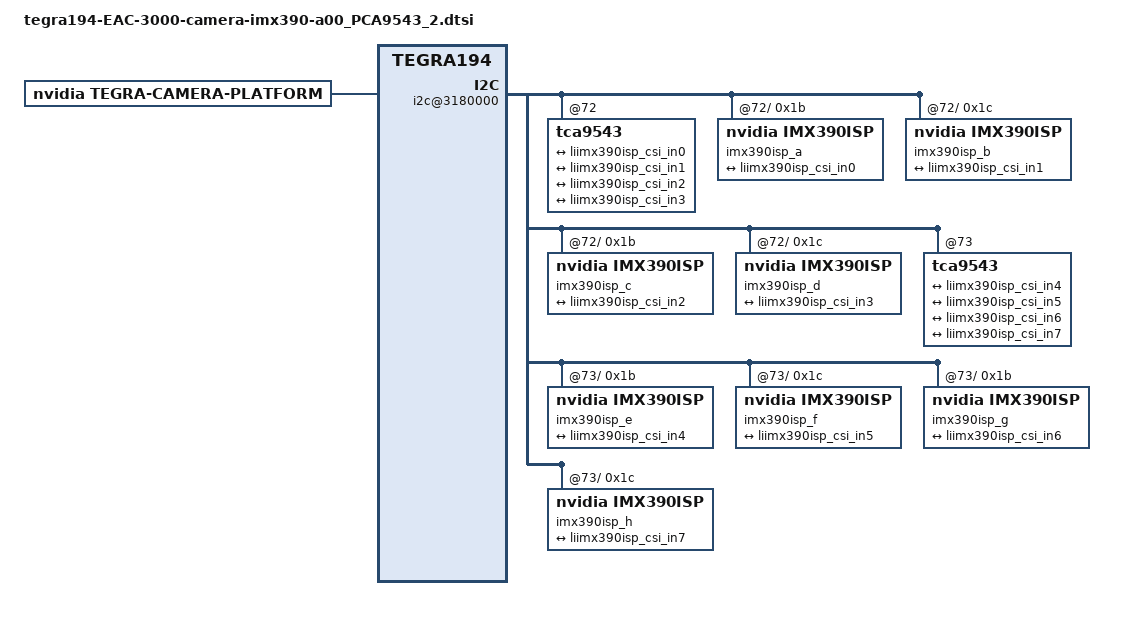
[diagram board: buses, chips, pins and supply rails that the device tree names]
/*
 * Copyright (c) 2018, NVIDIA CORPORATION.  All rights reserved.
 *
 * This program is free software; you can redistribute it and/or modify
 * it under the terms of the GNU General Public License as published by
 * the Free Software Foundation; either version 2 of the License, or
 * (at your option) any later version.
 *
 * This program is distributed in the hope that it will be useful, but WITHOUT
 * ANY WARRANTY; without even the implied warranty of MERCHANTABILITY or
 * FITNESS FOR A PARTICULAR PURPOSE.  See the GNU General Public License for
 * more details.
 *
 * You should have received a copy of the GNU General Public License
 * along with this program.  If not, see <http://www.gnu.org/licenses/>.
 */

/ {
	host1x {
		vi@15c10000 {
			num-channels = <8>;
			ports {
				#address-cells = <1>;
				#size-cells = <0>;
				port@0 {
					reg = <0>;
					liimx390isp_vi_in0: endpoint {
						vc-id = <0>;
						port-index = <0>;
						bus-width = <4>;
						remote-endpoint = <&liimx390isp_csi_out0>;
					};
				};
				port@1 {
					reg = <1>;
					liimx390isp_vi_in1: endpoint {
						vc-id = <1>;
						port-index = <0>;
						bus-width = <4>;
						remote-endpoint = <&liimx390isp_csi_out1>;
					};
				};
				port@2 {
					reg = <2>;
					liimx390isp_vi_in2: endpoint {
						vc-id = <0>;
						port-index = <2>;
						bus-width = <4>;
						remote-endpoint = <&liimx390isp_csi_out2>;
					};
				};
				port@3 {
					reg = <3>;
					liimx390isp_vi_in3: endpoint {
						vc-id = <1>;
						port-index = <2>;
						bus-width = <4>;
						remote-endpoint = <&liimx390isp_csi_out3>;
					};
				};
				port@4 {
					reg = <4>;
					liimx390isp_vi_in4: endpoint {
						vc-id = <0>;
						port-index = <4>;
						bus-width = <4>;
						remote-endpoint = <&liimx390isp_csi_out4>;
					};
				};
				port@5 {
					reg = <5>;
					liimx390isp_vi_in5: endpoint {
						vc-id = <1>;
						port-index = <4>;
						bus-width = <4>;
						remote-endpoint = <&liimx390isp_csi_out5>;
					};
				};
				port@6 {
					reg = <6>;
					liimx390isp_vi_in6: endpoint {
						vc-id = <0>;
						port-index = <5>;
						bus-width = <4>;
						remote-endpoint = <&liimx390isp_csi_out6>;
					};
				};
				port@7 {
					reg = <7>;
					liimx390isp_vi_in7: endpoint {
						vc-id = <1>;
						port-index = <5>;
						bus-width = <4>;
						remote-endpoint = <&liimx390isp_csi_out7>;
					};
				};
			};
		};

		nvcsi@15a00000 {
			num-channels = <8>;
			#address-cells = <1>;
			#size-cells = <0>;
			channel@0 {
				reg = <0>;
				ports {
					#address-cells = <1>;
					#size-cells = <0>;
					port@0 {
						reg = <0>;
						liimx390isp_csi_in0: endpoint@0 {
							port-index = <0>;
							bus-width = <4>;
							remote-endpoint = <&liimx390isp_imx390isp_out0>;
						};
					};
					port@1 {
						reg = <1>;
						liimx390isp_csi_out0: endpoint@1 {
							remote-endpoint = <&liimx390isp_vi_in0>;
						};
					};
				};
			};
			channel@1 {
				reg = <1>;
				ports {
					#address-cells = <1>;
					#size-cells = <0>;
					port@0 {
						reg = <0>;
						liimx390isp_csi_in1: endpoint@2 {
							port-index = <0>;
							bus-width = <4>;
							remote-endpoint = <&liimx390isp_imx390isp_out1>;
						};
					};
					port@1 {
						reg = <1>;
						liimx390isp_csi_out1: endpoint@3 {
							remote-endpoint = <&liimx390isp_vi_in1>;
						};
					};
				};
			};
			channel@2 {
				reg = <2>;
				ports {
					#address-cells = <1>;
					#size-cells = <0>;
					port@0 {
						reg = <0>;
						liimx390isp_csi_in2: endpoint@4 {
							port-index = <2>;
							bus-width = <4>;
							remote-endpoint = <&liimx390isp_imx390isp_out2>;
						};
					};
					port@1 {
						reg = <1>;
						liimx390isp_csi_out2: endpoint@5 {
							remote-endpoint = <&liimx390isp_vi_in2>;
						};
					};
				};
			};
			channel@3 {
				reg = <3>;
				ports {
					#address-cells = <1>;
					#size-cells = <0>;
					port@0 {
						reg = <0>;
						liimx390isp_csi_in3: endpoint@6 {
							port-index = <2>;
							bus-width = <4>;
							remote-endpoint = <&liimx390isp_imx390isp_out3>;
						};
					};
					port@1 {
						reg = <1>;
						liimx390isp_csi_out3: endpoint@7 {
							remote-endpoint = <&liimx390isp_vi_in3>;
						};
					};
				};
			};
			channel@4 {
				reg = <4>;
				ports {
					#address-cells = <1>;
					#size-cells = <0>;
					port@0 {
						reg = <0>;
						liimx390isp_csi_in4: endpoint@8 {
							port-index = <4>;
							bus-width = <4>;
							remote-endpoint = <&liimx390isp_imx390isp_out4>;
						};
					};
					port@1 {
						reg = <1>;
						liimx390isp_csi_out4: endpoint@9 {
							remote-endpoint = <&liimx390isp_vi_in4>;
						};
					};
				};
			};
			channel@5 {
				reg = <5>;
				ports {
					#address-cells = <1>;
					#size-cells = <0>;
					port@0 {
						reg = <0>;
						liimx390isp_csi_in5: endpoint@10 {
							port-index = <4>;
							bus-width = <4>;
							remote-endpoint = <&liimx390isp_imx390isp_out5>;
						};
					};
					port@1 {
						reg = <1>;
						liimx390isp_csi_out5: endpoint@11 {
							remote-endpoint = <&liimx390isp_vi_in5>;
						};
					};
				};
			};
			channel@6 {
				reg = <6>;
				ports {
					#address-cells = <1>;
					#size-cells = <0>;
					port@0 {
						reg = <0>;
						liimx390isp_csi_in6: endpoint@12 {
							port-index = <6>;
							bus-width = <4>;
							remote-endpoint = <&liimx390isp_imx390isp_out6>;
						};
					};
					port@1 {
						reg = <1>;
						liimx390isp_csi_out6: endpoint@13 {
							remote-endpoint = <&liimx390isp_vi_in6>;
						};
					};
				};
			};
			channel@7 {
				reg = <7>;
				ports {
					#address-cells = <1>;
					#size-cells = <0>;
					port@0 {
						reg = <0>;
						liimx390isp_csi_in7: endpoint@14 {
							port-index = <6>;
							bus-width = <4>;
							remote-endpoint = <&liimx390isp_imx390isp_out7>;
						};
					};
					port@1 {
						reg = <1>;
						liimx390isp_csi_out7: endpoint@15 {
							remote-endpoint = <&liimx390isp_vi_in7>;
						};
					};
				};
			};
		};
	};

	i2c@3180000 {
		tca9543@72 {
			i2c@0 {
			imx390isp_a@1b {
				compatible = "nvidia,imx390isp";

				reg = <0x1b>;
				reg_mux = <0>;


				/* Physical dimensions of sensor */
				physical_w = "15.0";
				physical_h = "12.5";


				sensor_model ="imx390isp";

				/* Defines number of frames to be dropped by driver internally after applying */
				/* sensor crop settings. Some sensors send corrupt frames after applying */
				/* crop co-ordinates */
				post_crop_frame_drop = "0";

				/* Convert Gain to unit of dB (decibel) befor passing to kernel driver */
				//use_decibel_gain = "true";

				/* enable CID_SENSOR_MODE_ID for sensor modes selection */
				use_sensor_mode_id = "true";

				/**
				* A modeX node is required to support v4l2 driver
				* implementation with NVIDIA camera software stack
				*
				* mclk_khz = "";
				* Standard MIPI driving clock, typically 24MHz
				*
				* num_lanes = "";
				* Number of lane channels sensor is programmed to output
				*
				* tegra_sinterface = "";
				* The base tegra serial interface lanes are connected to
				*
				* vc_id = "";
				* The virtual channel id of the sensor.
				*
				* discontinuous_clk = "";
				* The sensor is programmed to use a discontinuous clock on MIPI lanes
				*
				* dpcm_enable = "true";
				* The sensor is programmed to use a DPCM modes
				*
				* cil_settletime = "";
				* MIPI lane settle time value.
				* A "0" value attempts to autocalibrate based on mclk_khz and pix_clk_hz
				*
				* active_w = "";
				* Pixel active region width
				*
				* active_h = "";
				* Pixel active region height
				*
				* dynamic_pixel_bit_depth = "";
				* sensor dynamic bit depth for sensor mode
				*
				* csi_pixel_bit_depth = "";
				* sensor output bit depth for sensor mode
				*
				* mode_type="";
				* Sensor mode type, For eg: yuv, Rgb, bayer, bayer_wdr_pwl
				*
				* pixel_phase="";
				* Pixel phase for sensor mode, For eg: rggb, vyuy, rgb888
				*
				* readout_orientation = "0";
				* Based on camera module orientation.
				* Only change readout_orientation if you specifically
				* Program a different readout order for this mode
				*
				* line_length = "";
				* Pixel line length (width) for sensor mode.
				* This is used to calibrate features in our camera stack.
				*
				* pix_clk_hz = "";
				* Sensor pixel clock used for calculations like exposure and framerate
				*
				*
				*
				*
				* inherent_gain = "";
				* Gain obtained inherently from mode (ie. pixel binning)
				*
				* min_gain_val = ""; (floor to 6 decimal places)
				* max_gain_val = ""; (floor to 6 decimal places)
				* Gain limits for mode
				* if use_decibel_gain = "true", please set the gain as decibel
				*
				* min_exp_time = ""; (ceil to integer)
				* max_exp_time = ""; (ceil to integer)
				* Exposure Time limits for mode (us)
				*
				*
				* min_hdr_ratio = "";
				* max_hdr_ratio = "";
				* HDR Ratio limits for mode
				*
				* min_framerate = "";
				* max_framerate = "";
				* Framerate limits for mode (fps)
				*
				* embedded_metadata_height = "";
				* Sensor embedded metadata height in units of rows.
				* If sensor does not support embedded metadata value should be 0.
				*/

			mode0 {/*mode IMX390_MODE_1920X1080_CROP_30FPS*/
					mclk_khz = "24000";
					num_lanes = "4";
					tegra_sinterface = "serial_a";
					vc_id = "0";
					discontinuous_clk = "no";
					dpcm_enable = "false";
					cil_settletime = "0";
					dynamic_pixel_bit_depth = "16";
					csi_pixel_bit_depth = "16";
					mode_type = "yuv";
					pixel_phase = "uyvy";
					pixel_t = "yuv_uyvy16";

					active_w = "1920";
					active_h = "1080";
					readout_orientation = "0";
					line_length = "2200";
					inherent_gain = "1";
					pix_clk_hz = "74250000";
					serdes_pix_clk_hz = "833333333";

					gain_factor = "10";
					min_gain_val = "0"; /* dB */
					max_gain_val = "300"; /* dB */
					step_gain_val = "3"; /* 0.3 */
					default_gain = "0";
					min_hdr_ratio = "1";
					max_hdr_ratio = "1";
					framerate_factor = "1000000";
					min_framerate = "30000000";
					max_framerate = "30000000";
					step_framerate = "1";
					default_framerate = "30000000";
					exposure_factor = "1000000";
					min_exp_time = "59"; /*us, 2 lines*/
					max_exp_time = "33333";
					step_exp_time = "1";
					default_exp_time = "33333";/* us */
					embedded_metadata_height = "0";
				};
				ports {
					#address-cells = <1>;
					#size-cells = <0>;
					port@0 {
						reg = <0>;
						liimx390isp_imx390isp_out0: endpoint {
							vc-id = <0>;
							port-index = <0>;
							bus-width = <4>;
							remote-endpoint = <&liimx390isp_csi_in0>;
							};
						};
					};
				gmsl-link {
					src-csi-port = "b";
					dst-csi-port = "a";
					serdes-csi-link = "a";
					csi-mode = "1x4";
					st-vc = <0>;
					vc-id = <0>;
					num-lanes = <4>;
					streams = "ued-u1", "yuv8";
					};
				};
                       
			imx390isp_b@1c {
				compatible = "nvidia,imx390isp";

				reg = <0x1c>;
				reg_mux = <0>;
				/* Physical dimensions of sensor */
				physical_w = "15.0";
				physical_h = "12.5";

				sensor_model ="imx390isp";

				/* Defines number of frames to be dropped by driver internally after applying */
				/* sensor crop settings. Some sensors send corrupt frames after applying */
				/* crop co-ordinates */
				post_crop_frame_drop = "0";

				/* Convert Gain to unit of dB (decibel) befor passing to kernel driver */
				//use_decibel_gain = "true";

				/* enable CID_SENSOR_MODE_ID for sensor modes selection */
				use_sensor_mode_id = "true";

				/**
				* A modeX node is required to support v4l2 driver
				* implementation with NVIDIA camera software stack
				*
				* mclk_khz = "";
				* Standard MIPI driving clock, typically 24MHz
				*
				* num_lanes = "";
				* Number of lane channels sensor is programmed to output
				*
				* tegra_sinterface = "";
				* The base tegra serial interface lanes are connected to
				*
				* vc_id = "";
				* The virtual channel id of the sensor.
				*
				* discontinuous_clk = "";
				* The sensor is programmed to use a discontinuous clock on MIPI lanes
				*
				* dpcm_enable = "true";
				* The sensor is programmed to use a DPCM modes
				*
				* cil_settletime = "";
				* MIPI lane settle time value.
				* A "0" value attempts to autocalibrate based on mclk_khz and pix_clk_hz
				*
				* active_w = "";
				* Pixel active region width
				*
				* active_h = "";
				* Pixel active region height
				*
				* dynamic_pixel_bit_depth = "";
				* sensor dynamic bit depth for sensor mode
				*
				* csi_pixel_bit_depth = "";
				* sensor output bit depth for sensor mode
				*
				* mode_type="";
				* Sensor mode type, For eg: yuv, Rgb, bayer, bayer_wdr_pwl
				*
				* pixel_phase="";
				* Pixel phase for sensor mode, For eg: rggb, vyuy, rgb888
				*
				* readout_orientation = "0";
				* Based on camera module orientation.
				* Only change readout_orientation if you specifically
				* Program a different readout order for this mode
				*
				* line_length = "";
				* Pixel line length (width) for sensor mode.
				* This is used to calibrate features in our camera stack.
				*
				* pix_clk_hz = "";
				* Sensor pixel clock used for calculations like exposure and framerate
				*
				*
				*
				*
				* inherent_gain = "";
				* Gain obtained inherently from mode (ie. pixel binning)
				*
				* min_gain_val = ""; (floor to 6 decimal places)
				* max_gain_val = ""; (floor to 6 decimal places)
				* Gain limits for mode
				* if use_decibel_gain = "true", please set the gain as decibel
				*
				* min_exp_time = ""; (ceil to integer)
				* max_exp_time = ""; (ceil to integer)
				* Exposure Time limits for mode (us)
				*
				*
				* min_hdr_ratio = "";
				* max_hdr_ratio = "";
				* HDR Ratio limits for mode
				*
				* min_framerate = "";
				* max_framerate = "";
				* Framerate limits for mode (fps)
				*
				* embedded_metadata_height = "";
				* Sensor embedded metadata height in units of rows.
				* If sensor does not support embedded metadata value should be 0.
				*/

			mode0 {/*mode imx390isp_MODE_1920X1080_CROP_30FPS*/
					mclk_khz = "24000";
					num_lanes = "4";
					tegra_sinterface = "serial_a";
					vc_id = "1";
					discontinuous_clk = "no";
					dpcm_enable = "false";
					cil_settletime = "0";
					dynamic_pixel_bit_depth = "16";
					csi_pixel_bit_depth = "16";
					mode_type = "yuv";
					pixel_phase = "uyvy";

					active_w = "1920";
					active_h = "1080";
					readout_orientation = "0";
					line_length = "2200";
					inherent_gain = "1";
					pix_clk_hz = "74250000";
					serdes_pix_clk_hz = "833333333";

					gain_factor = "10";
					min_gain_val = "0"; /* dB */
					max_gain_val = "300"; /* dB */
					step_gain_val = "3"; /* 0.3 */
					default_gain = "0";
					min_hdr_ratio = "1";
					max_hdr_ratio = "1";
					framerate_factor = "1000000";
					min_framerate = "30000000";
					max_framerate = "30000000";
					step_framerate = "1";
					default_framerate = "30000000";
					exposure_factor = "1000000";
					min_exp_time = "59"; /*us, 2 lines*/
					max_exp_time = "33333";
					step_exp_time = "1";
					default_exp_time = "33333";/* us */
					embedded_metadata_height = "0";
				};
				ports {
					#address-cells = <1>;
					#size-cells = <0>;
					port@0 {
						reg = <0>;
						liimx390isp_imx390isp_out1: endpoint {
							vc-id = <1>;
							port-index = <0>;
							bus-width = <4>;
							remote-endpoint = <&liimx390isp_csi_in1>;
							};
						};
					};
				gmsl-link {
					src-csi-port = "b";
					dst-csi-port = "a";
					serdes-csi-link = "b";
					csi-mode = "1x4";
					st-vc = <0>;
					vc-id = <1>;
					num-lanes = <4>;
					streams = "ued-u1", "yuv8";
					};
				};
			};

			i2c@1 {
			imx390isp_c@1b {
				compatible = "nvidia,imx390isp";

				reg = <0x1b>;
				reg_mux = <1>;
				/* Physical dimensions of sensor */
				physical_w = "15.0";
				physical_h = "12.5";

				sensor_model ="imx390isp";

				/* Defines number of frames to be dropped by driver internally after applying */
				/* sensor crop settings. Some sensors send corrupt frames after applying */
				/* crop co-ordinates */
				post_crop_frame_drop = "0";

				/* Convert Gain to unit of dB (decibel) befor passing to kernel driver */
				//use_decibel_gain = "true";

				/* enable CID_SENSOR_MODE_ID for sensor modes selection */
				use_sensor_mode_id = "true";

				mode0 {/*mode imx390isp_MODE_1920X1080_CROP_30FPS*/
					mclk_khz = "24000";
					num_lanes = "4";
					tegra_sinterface = "serial_c";
					vc_id = "0";
					discontinuous_clk = "no";
					dpcm_enable = "false";
					cil_settletime = "0";
					dynamic_pixel_bit_depth = "16";
					csi_pixel_bit_depth = "16";
					mode_type = "yuv";
					pixel_phase = "uyvy";

					active_w = "1920";
					active_h = "1080";
					readout_orientation = "0";
					line_length = "2200";
					inherent_gain = "1";
					pix_clk_hz = "74250000";
					serdes_pix_clk_hz = "833333333";

					gain_factor = "10";
					min_gain_val = "0"; /* dB */
					max_gain_val = "300"; /* dB */
					step_gain_val = "3"; /* 0.3 */
					default_gain = "0";
					min_hdr_ratio = "1";
					max_hdr_ratio = "1";
					framerate_factor = "1000000";
					min_framerate = "30000000";
					max_framerate = "30000000";
					step_framerate = "1";
					default_framerate = "30000000";
					exposure_factor = "1000000";
					min_exp_time = "59"; /*us, 2 lines*/
					max_exp_time = "33333";
					step_exp_time = "1";
					default_exp_time = "33333";/* us */
					embedded_metadata_height = "0";
				};
				ports {
					#address-cells = <1>;
					#size-cells = <0>;
					port@0 {
						reg = <0>;
						liimx390isp_imx390isp_out2: endpoint {
							vc-id = <0>;
							port-index = <2>;
							bus-width = <4>;
							remote-endpoint = <&liimx390isp_csi_in2>;
							};
						};
					};
				gmsl-link {
					src-csi-port = "b";
					dst-csi-port = "a";
					serdes-csi-link = "a";
					csi-mode = "1x4";
					st-vc = <0>;
					vc-id = <0>;
					num-lanes = <4>;
					streams = "ued-u1", "yuv8";
					};
				};
			
			imx390isp_d@1c {
				compatible = "nvidia,imx390isp";

				reg = <0x1c>;
				reg_mux = <1>;
				/* Physical dimensions of sensor */
				physical_w = "15.0";
				physical_h = "12.5";

				sensor_model ="imx390isp";

				/* Defines number of frames to be dropped by driver internally after applying */
				/* sensor crop settings. Some sensors send corrupt frames after applying */
				/* crop co-ordinates */
				post_crop_frame_drop = "0";

				/* Convert Gain to unit of dB (decibel) befor passing to kernel driver */
				//use_decibel_gain = "true";

				/* enable CID_SENSOR_MODE_ID for sensor modes selection */
				use_sensor_mode_id = "true";

				mode0 {/*mode imx390isp_MODE_1920X1080_CROP_30FPS*/
					mclk_khz = "24000";
					num_lanes = "4";
					tegra_sinterface = "serial_c";
					vc_id = "1";
					discontinuous_clk = "no";
					dpcm_enable = "false";
					cil_settletime = "0";
					dynamic_pixel_bit_depth = "16";
					csi_pixel_bit_depth = "16";
					mode_type = "yuv";
					pixel_phase = "uyvy";

					active_w = "1920";
					active_h = "1080";
					readout_orientation = "0";
					line_length = "2200";
					inherent_gain = "1";
					pix_clk_hz = "74250000";
					serdes_pix_clk_hz = "833333333";

					gain_factor = "10";
					min_gain_val = "0"; /* dB */
					max_gain_val = "300"; /* dB */
					step_gain_val = "3"; /* 0.3 */
					default_gain = "0";
					min_hdr_ratio = "1";
					max_hdr_ratio = "1";
					framerate_factor = "1000000";
					min_framerate = "30000000";
					max_framerate = "30000000";
					step_framerate = "1";
					default_framerate = "30000000";
					exposure_factor = "1000000";
					min_exp_time = "59"; /*us, 2 lines*/
					max_exp_time = "33333";
					step_exp_time = "1";
					default_exp_time = "33333";/* us */
					embedded_metadata_height = "0";
				};
				ports {
					#address-cells = <1>;
					#size-cells = <0>;
					port@0 {
						reg = <0>;
						liimx390isp_imx390isp_out3: endpoint {
							vc-id = <1>;
							port-index = <2>;
							bus-width = <4>;
							remote-endpoint = <&liimx390isp_csi_in3>;
							};
						};
					};
				gmsl-link {
					src-csi-port = "b";
					dst-csi-port = "a";
					serdes-csi-link = "b";
					csi-mode = "1x4";
					st-vc = <0>;
					vc-id = <1>;
					num-lanes = <4>;
					streams = "ued-u1", "yuv8";
					};
				};
			};
		};
		
		tca9543@73 {
			i2c@0 {
			imx390isp_e@1b {
				compatible = "nvidia,imx390isp";

				reg = <0x1b>;
				reg_mux = <2>;


				/* Physical dimensions of sensor */
				physical_w = "15.0";
				physical_h = "12.5";


				sensor_model ="imx390isp";

				/* Defines number of frames to be dropped by driver internally after applying */
				/* sensor crop settings. Some sensors send corrupt frames after applying */
				/* crop co-ordinates */
				post_crop_frame_drop = "0";

				/* Convert Gain to unit of dB (decibel) befor passing to kernel driver */
				//use_decibel_gain = "true";

				/* enable CID_SENSOR_MODE_ID for sensor modes selection */
				use_sensor_mode_id = "true";

				/**
				* A modeX node is required to support v4l2 driver
				* implementation with NVIDIA camera software stack
				*
				* mclk_khz = "";
				* Standard MIPI driving clock, typically 24MHz
				*
				* num_lanes = "";
				* Number of lane channels sensor is programmed to output
				*
				* tegra_sinterface = "";
				* The base tegra serial interface lanes are connected to
				*
				* vc_id = "";
				* The virtual channel id of the sensor.
				*
				* discontinuous_clk = "";
				* The sensor is programmed to use a discontinuous clock on MIPI lanes
				*
				* dpcm_enable = "true";
				* The sensor is programmed to use a DPCM modes
				*
				* cil_settletime = "";
				* MIPI lane settle time value.
				* A "0" value attempts to autocalibrate based on mclk_khz and pix_clk_hz
				*
				* active_w = "";
				* Pixel active region width
				*
				* active_h = "";
				* Pixel active region height
				*
				* dynamic_pixel_bit_depth = "";
				* sensor dynamic bit depth for sensor mode
				*
				* csi_pixel_bit_depth = "";
				* sensor output bit depth for sensor mode
				*
				* mode_type="";
				* Sensor mode type, For eg: yuv, Rgb, bayer, bayer_wdr_pwl
				*
				* pixel_phase="";
				* Pixel phase for sensor mode, For eg: rggb, vyuy, rgb888
				*
				* readout_orientation = "0";
				* Based on camera module orientation.
				* Only change readout_orientation if you specifically
				* Program a different readout order for this mode
				*
				* line_length = "";
				* Pixel line length (width) for sensor mode.
				* This is used to calibrate features in our camera stack.
				*
				* pix_clk_hz = "";
				* Sensor pixel clock used for calculations like exposure and framerate
				*
				*
				*
				*
				* inherent_gain = "";
				* Gain obtained inherently from mode (ie. pixel binning)
				*
				* min_gain_val = ""; (floor to 6 decimal places)
				* max_gain_val = ""; (floor to 6 decimal places)
				* Gain limits for mode
				* if use_decibel_gain = "true", please set the gain as decibel
				*
				* min_exp_time = ""; (ceil to integer)
				* max_exp_time = ""; (ceil to integer)
				* Exposure Time limits for mode (us)
				*
				*
				* min_hdr_ratio = "";
				* max_hdr_ratio = "";
				* HDR Ratio limits for mode
				*
				* min_framerate = "";
				* max_framerate = "";
				* Framerate limits for mode (fps)
				*
				* embedded_metadata_height = "";
				* Sensor embedded metadata height in units of rows.
				* If sensor does not support embedded metadata value should be 0.
				*/

			mode0 {/*mode IMX390_MODE_1920X1080_CROP_30FPS*/
					mclk_khz = "24000";
					num_lanes = "4";
					tegra_sinterface = "serial_e";
					vc_id = "0";
					discontinuous_clk = "no";
					dpcm_enable = "false";
					cil_settletime = "0";
					dynamic_pixel_bit_depth = "16";
					csi_pixel_bit_depth = "16";
					mode_type = "yuv";
					pixel_phase = "uyvy";
					pixel_t = "yuv_uyvy16";

					active_w = "1920";
					active_h = "1080";
					readout_orientation = "0";
					line_length = "2200";
					inherent_gain = "1";
					pix_clk_hz = "74250000";
					serdes_pix_clk_hz = "833333333";

					gain_factor = "10";
					min_gain_val = "0"; /* dB */
					max_gain_val = "300"; /* dB */
					step_gain_val = "3"; /* 0.3 */
					default_gain = "0";
					min_hdr_ratio = "1";
					max_hdr_ratio = "1";
					framerate_factor = "1000000";
					min_framerate = "30000000";
					max_framerate = "30000000";
					step_framerate = "1";
					default_framerate = "30000000";
					exposure_factor = "1000000";
					min_exp_time = "59"; /*us, 2 lines*/
					max_exp_time = "33333";
					step_exp_time = "1";
					default_exp_time = "33333";/* us */
					embedded_metadata_height = "0";
				};
				ports {
					#address-cells = <1>;
					#size-cells = <0>;
					port@0 {
						reg = <0>;
						liimx390isp_imx390isp_out4: endpoint {
							vc-id = <0>;
							port-index = <4>;
							bus-width = <4>;
							remote-endpoint = <&liimx390isp_csi_in4>;
							};
						};
					};
				gmsl-link {
					src-csi-port = "b";
					dst-csi-port = "a";
					serdes-csi-link = "a";
					csi-mode = "1x4";
					st-vc = <0>;
					vc-id = <0>;
					num-lanes = <4>;
					streams = "ued-u1", "yuv8";
					};
				};
                       
			imx390isp_f@1c {
				compatible = "nvidia,imx390isp";

				reg = <0x1c>;
				reg_mux = <2>;
				/* Physical dimensions of sensor */
				physical_w = "15.0";
				physical_h = "12.5";

				sensor_model ="imx390isp";

				/* Defines number of frames to be dropped by driver internally after applying */
				/* sensor crop settings. Some sensors send corrupt frames after applying */
				/* crop co-ordinates */
				post_crop_frame_drop = "0";

				/* Convert Gain to unit of dB (decibel) befor passing to kernel driver */
				//use_decibel_gain = "true";

				/* enable CID_SENSOR_MODE_ID for sensor modes selection */
				use_sensor_mode_id = "true";

				/**
				* A modeX node is required to support v4l2 driver
				* implementation with NVIDIA camera software stack
				*
				* mclk_khz = "";
				* Standard MIPI driving clock, typically 24MHz
				*
				* num_lanes = "";
				* Number of lane channels sensor is programmed to output
				*
				* tegra_sinterface = "";
				* The base tegra serial interface lanes are connected to
				*
				* vc_id = "";
				* The virtual channel id of the sensor.
				*
				* discontinuous_clk = "";
				* The sensor is programmed to use a discontinuous clock on MIPI lanes
				*
				* dpcm_enable = "true";
				* The sensor is programmed to use a DPCM modes
				*
				* cil_settletime = "";
				* MIPI lane settle time value.
				* A "0" value attempts to autocalibrate based on mclk_khz and pix_clk_hz
				*
				* active_w = "";
				* Pixel active region width
				*
				* active_h = "";
				* Pixel active region height
				*
				* dynamic_pixel_bit_depth = "";
				* sensor dynamic bit depth for sensor mode
				*
				* csi_pixel_bit_depth = "";
				* sensor output bit depth for sensor mode
				*
				* mode_type="";
				* Sensor mode type, For eg: yuv, Rgb, bayer, bayer_wdr_pwl
				*
				* pixel_phase="";
				* Pixel phase for sensor mode, For eg: rggb, vyuy, rgb888
				*
				* readout_orientation = "0";
				* Based on camera module orientation.
				* Only change readout_orientation if you specifically
				* Program a different readout order for this mode
				*
				* line_length = "";
				* Pixel line length (width) for sensor mode.
				* This is used to calibrate features in our camera stack.
				*
				* pix_clk_hz = "";
				* Sensor pixel clock used for calculations like exposure and framerate
				*
				*
				*
				*
				* inherent_gain = "";
				* Gain obtained inherently from mode (ie. pixel binning)
				*
				* min_gain_val = ""; (floor to 6 decimal places)
				* max_gain_val = ""; (floor to 6 decimal places)
				* Gain limits for mode
				* if use_decibel_gain = "true", please set the gain as decibel
				*
				* min_exp_time = ""; (ceil to integer)
				* max_exp_time = ""; (ceil to integer)
				* Exposure Time limits for mode (us)
				*
				*
				* min_hdr_ratio = "";
				* max_hdr_ratio = "";
				* HDR Ratio limits for mode
				*
				* min_framerate = "";
				* max_framerate = "";
				* Framerate limits for mode (fps)
				*
				* embedded_metadata_height = "";
				* Sensor embedded metadata height in units of rows.
				* If sensor does not support embedded metadata value should be 0.
				*/

			mode0 {/*mode imx390isp_MODE_1920X1080_CROP_30FPS*/
					mclk_khz = "24000";
					num_lanes = "4";
					tegra_sinterface = "serial_e";
					vc_id = "1";
					discontinuous_clk = "no";
					dpcm_enable = "false";
					cil_settletime = "0";
					dynamic_pixel_bit_depth = "16";
					csi_pixel_bit_depth = "16";
					mode_type = "yuv";
					pixel_phase = "uyvy";

					active_w = "1920";
					active_h = "1080";
					readout_orientation = "0";
					line_length = "2200";
					inherent_gain = "1";
					pix_clk_hz = "74250000";
					serdes_pix_clk_hz = "833333333";

					gain_factor = "10";
					min_gain_val = "0"; /* dB */
					max_gain_val = "300"; /* dB */
					step_gain_val = "3"; /* 0.3 */
					default_gain = "0";
					min_hdr_ratio = "1";
					max_hdr_ratio = "1";
					framerate_factor = "1000000";
					min_framerate = "30000000";
					max_framerate = "30000000";
					step_framerate = "1";
					default_framerate = "30000000";
					exposure_factor = "1000000";
					min_exp_time = "59"; /*us, 2 lines*/
					max_exp_time = "33333";
					step_exp_time = "1";
					default_exp_time = "33333";/* us */
					embedded_metadata_height = "0";
				};
				ports {
					#address-cells = <1>;
					#size-cells = <0>;
					port@0 {
						reg = <0>;
						liimx390isp_imx390isp_out5: endpoint {
							vc-id = <1>;
							port-index = <4>;
							bus-width = <4>;
							remote-endpoint = <&liimx390isp_csi_in5>;
							};
						};
					};
				gmsl-link {
					src-csi-port = "b";
					dst-csi-port = "a";
					serdes-csi-link = "b";
					csi-mode = "1x4";
					st-vc = <0>;
					vc-id = <1>;
					num-lanes = <4>;
					streams = "ued-u1", "yuv8";
					};
				};
			};

			i2c@1 {
			imx390isp_g@1b {
				compatible = "nvidia,imx390isp";

				reg = <0x1b>;
				reg_mux = <3>;
				/* Physical dimensions of sensor */
				physical_w = "15.0";
				physical_h = "12.5";

				sensor_model ="imx390isp";

				/* Defines number of frames to be dropped by driver internally after applying */
				/* sensor crop settings. Some sensors send corrupt frames after applying */
				/* crop co-ordinates */
				post_crop_frame_drop = "0";

				/* Convert Gain to unit of dB (decibel) befor passing to kernel driver */
				//use_decibel_gain = "true";

				/* enable CID_SENSOR_MODE_ID for sensor modes selection */
				use_sensor_mode_id = "true";

				mode0 {/*mode imx390isp_MODE_1920X1080_CROP_30FPS*/
					mclk_khz = "24000";
					num_lanes = "4";
					tegra_sinterface = "serial_g";
					vc_id = "0";
					discontinuous_clk = "no";
					dpcm_enable = "false";
					cil_settletime = "0";
					dynamic_pixel_bit_depth = "16";
					csi_pixel_bit_depth = "16";
					mode_type = "yuv";
					pixel_phase = "uyvy";

					active_w = "1920";
					active_h = "1080";
					readout_orientation = "0";
					line_length = "2200";
					inherent_gain = "1";
					pix_clk_hz = "74250000";
					serdes_pix_clk_hz = "833333333";

					gain_factor = "10";
					min_gain_val = "0"; /* dB */
					max_gain_val = "300"; /* dB */
					step_gain_val = "3"; /* 0.3 */
					default_gain = "0";
					min_hdr_ratio = "1";
					max_hdr_ratio = "1";
					framerate_factor = "1000000";
					min_framerate = "30000000";
					max_framerate = "30000000";
					step_framerate = "1";
					default_framerate = "30000000";
					exposure_factor = "1000000";
					min_exp_time = "59"; /*us, 2 lines*/
					max_exp_time = "33333";
					step_exp_time = "1";
					default_exp_time = "33333";/* us */
					embedded_metadata_height = "0";
				};
				ports {
					#address-cells = <1>;
					#size-cells = <0>;
					port@0 {
						reg = <0>;
						liimx390isp_imx390isp_out6: endpoint {
							vc-id = <0>;
							port-index = <6>;
							bus-width = <4>;
							remote-endpoint = <&liimx390isp_csi_in6>;
							};
						};
					};
				gmsl-link {
					src-csi-port = "b";
					dst-csi-port = "a";
					serdes-csi-link = "a";
					csi-mode = "1x4";
					st-vc = <0>;
					vc-id = <0>;
					num-lanes = <4>;
					streams = "ued-u1", "yuv8";
					};
				};
			
			imx390isp_h@1c {
				compatible = "nvidia,imx390isp";

				reg = <0x1c>;
				reg_mux = <3>;
				/* Physical dimensions of sensor */
				physical_w = "15.0";
				physical_h = "12.5";

				sensor_model ="imx390isp";

				/* Defines number of frames to be dropped by driver internally after applying */
				/* sensor crop settings. Some sensors send corrupt frames after applying */
				/* crop co-ordinates */
				post_crop_frame_drop = "0";

				/* Convert Gain to unit of dB (decibel) befor passing to kernel driver */
				//use_decibel_gain = "true";

				/* enable CID_SENSOR_MODE_ID for sensor modes selection */
				use_sensor_mode_id = "true";

				mode0 {/*mode imx390isp_MODE_1920X1080_CROP_30FPS*/
					mclk_khz = "24000";
					num_lanes = "4";
					tegra_sinterface = "serial_g";
					vc_id = "1";
					discontinuous_clk = "no";
					dpcm_enable = "false";
					cil_settletime = "0";
					dynamic_pixel_bit_depth = "16";
					csi_pixel_bit_depth = "16";
					mode_type = "yuv";
					pixel_phase = "uyvy";

					active_w = "1920";
					active_h = "1080";
					readout_orientation = "0";
					line_length = "2200";
					inherent_gain = "1";
					pix_clk_hz = "74250000";
					serdes_pix_clk_hz = "833333333";

					gain_factor = "10";
					min_gain_val = "0"; /* dB */
					max_gain_val = "300"; /* dB */
					step_gain_val = "3"; /* 0.3 */
					default_gain = "0";
					min_hdr_ratio = "1";
					max_hdr_ratio = "1";
					framerate_factor = "1000000";
					min_framerate = "30000000";
					max_framerate = "30000000";
					step_framerate = "1";
					default_framerate = "30000000";
					exposure_factor = "1000000";
					min_exp_time = "59"; /*us, 2 lines*/
					max_exp_time = "33333";
					step_exp_time = "1";
					default_exp_time = "33333";/* us */
					embedded_metadata_height = "0";
				};
				ports {
					#address-cells = <1>;
					#size-cells = <0>;
					port@0 {
						reg = <0>;
						liimx390isp_imx390isp_out7: endpoint {
							vc-id = <1>;
							port-index = <6>;
							bus-width = <4>;
							remote-endpoint = <&liimx390isp_csi_in7>;
							};
						};
					};
				gmsl-link {
					src-csi-port = "b";
					dst-csi-port = "a";
					serdes-csi-link = "b";
					csi-mode = "1x4";
					st-vc = <0>;
					vc-id = <1>;
					num-lanes = <4>;
					streams = "ued-u1", "yuv8";
					};
				};
			};
		};
	};
};

/ {

	tegra-camera-platform {
		compatible = "nvidia, tegra-camera-platform";
		/**
		* Physical settings to calculate max ISO BW
		*
		* num_csi_lanes = <>;
		* Total number of CSI lanes when all cameras are active
		*
		* max_lane_speed = <>;
		* Max lane speed in Kbit/s
		*
		* min_bits_per_pixel = <>;
		* Min bits per pixel
		*
		* vi_peak_byte_per_pixel = <>;
		* Max byte per pixel for the VI ISO case
		*
		* vi_bw_margin_pct = <>;
		* Vi bandwidth margin in percentage
		*
		* max_pixel_rate = <>;
		* Max pixel rate in Kpixel/s for the ISP ISO case
		*
		* isp_peak_byte_per_pixel = <>;
		* Max byte per pixel for the ISP ISO case
		*
		* isp_bw_margin_pct = <>;
		* Isp bandwidth margin in percentage
		*/
		num_csi_lanes = <8>;
		max_lane_speed = <4000000>;
		min_bits_per_pixel = <10>;
		vi_peak_byte_per_pixel = <2>;
		vi_bw_margin_pct = <25>;
		isp_peak_byte_per_pixel = <5>;
		isp_bw_margin_pct = <25>;

		/**
		 * The general guideline for naming badge_info contains 3 parts, and is as follows,
		 * The first part is the camera_board_id for the module; if the module is in a FFD
		 * platform, then use the platform name for this part.
		 * The second part contains the position of the module, ex. "rear" or "front".
		 * The third part contains the last 6 characters of a part number which is found
		 * in the module's specsheet from the vender.
		 */
		modules {

			module0 {
				badge = "imx390isp_rear_liimx390isp";
				position = "rear";
				orientation = "1";
				drivernode0 {
					pcl_id = "v4l2_sensor";
					devname = "imx390isp 30-001b";
					proc-device-tree = "/proc/device-tree/i2c@3180000/tca9543@72/i2c@0/imx390isp_a@1b";
				};
			};

			module1 {
				badge = "imx390isp_front_liimx390isp";
				position = "front";
				orientation = "1";
				drivernode0 {
					/* Declare PCL support driver (classically known as guid)  */
					pcl_id = "v4l2_sensor";
					/* Driver v4l2 device name */
					devname = "imx390isp 30-001c";
					/* Declare the device-tree hierarchy to driver instance */
					proc-device-tree = "/proc/device-tree/i2c@3180000/tca9543@72/i2c@0/imx390isp_b@1c";
				};
			};

			module2 {
				badge = "imx390isp_topright_liimx390isp";
				position = "topright";
				orientation = "1";
				drivernode0 {
					pcl_id = "v4l2_sensor";
					devname = "imx390isp 31-001b";
					proc-device-tree = "/proc/device-tree/i2c@3180000/tca9543@72/i2c@1/imx390isp_c@1b";
				};
			};

			module3 {
				badge = "imx390isp_bottomright_liimx390isp";
				position = "bottomright";
				orientation = "1";
				drivernode0 {
					pcl_id = "v4l2_sensor";
					devname = "imx390isp 31-001c";
					proc-device-tree = "/proc/device-tree/i2c@3180000/tca9543@72/i2c@1/imx390isp_d@1c";
				};
			};
			module4 {
				badge = "imx390isp_topleft_liimx390isp";
				position = "topleft";
				orientation = "1";
				drivernode0 {
					pcl_id = "v4l2_sensor";
					devname = "imx390isp 32-001b";
					proc-device-tree = "/proc/device-tree/i2c@3180000/tca9543@73/i2c@0/imx390isp_e@1b";
				};
			};

			module5 {
				badge = "imx390isp_centerright_liimx390isp";
				position = "centerright";
				orientation = "1";
				drivernode0 {
					pcl_id = "v4l2_sensor";
					devname = "imx390isp 32-001c";
					proc-device-tree = "/proc/device-tree/i2c@3180000/tca9543@73/i2c@0/imx390isp_f@1c";
				};
			};
			module6 {
				badge = "imx390isp_centerleft_liimx390isp";
				position = "centerleft";
				orientation = "1";
				drivernode0 {
					pcl_id = "v4l2_sensor";
					devname = "imx390isp 33-001b";
					proc-device-tree = "/proc/device-tree/i2c@3180000/tca9543@73/i2c@1/imx390isp_g@1b";
				};
			};

			module7 {
				badge = "imx390isp_bottomleft_liimx390isp";
				position = "bottomleft";
				orientation = "1";
				drivernode0 {
					pcl_id = "v4l2_sensor";
					devname = "imx390isp 33-001c";
					proc-device-tree = "/proc/device-tree/i2c@3180000/tca9543@73/i2c@1/imx390isp_h@1c";
				};
			};
                 };
	};
};
